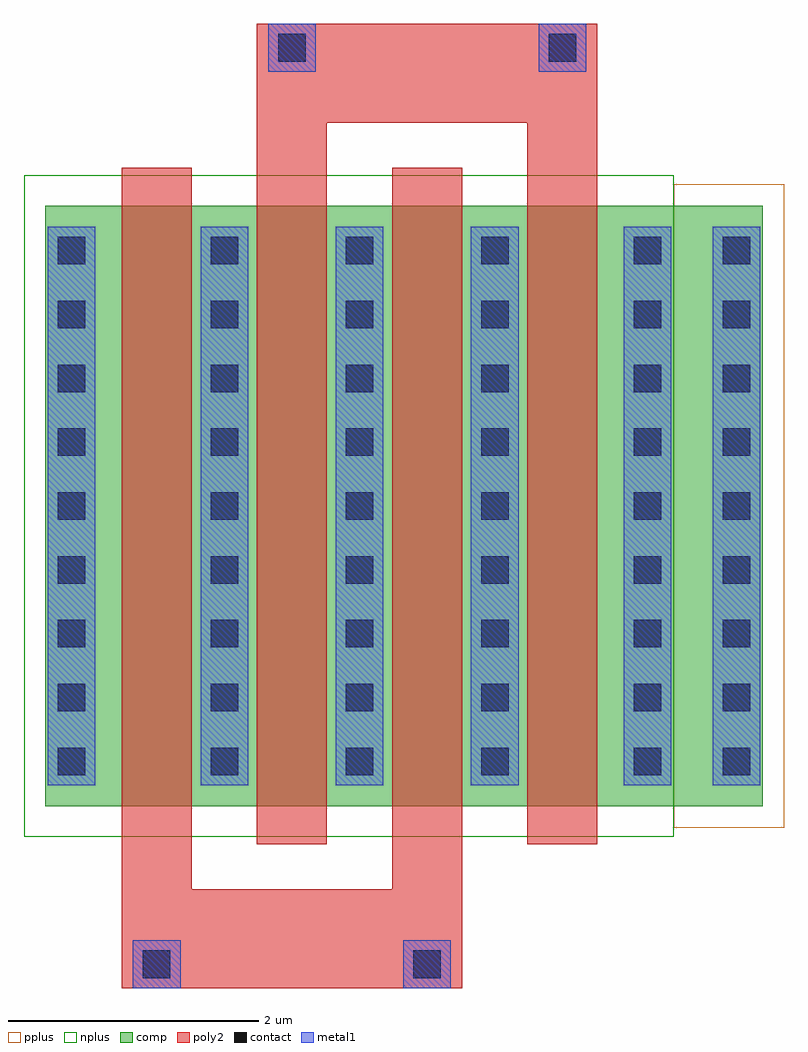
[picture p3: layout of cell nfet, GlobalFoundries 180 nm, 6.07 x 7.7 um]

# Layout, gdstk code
import gdstk
lib = gdstk.Library(unit=1e-6, precision=1e-09)
def R(c, l, rs):  # rectangles x0, y0, x1, y1
    for r in rs: c.add(gdstk.rectangle(r[:2], r[2:], *l))
def A(c, l, x, y, w, h, nx, ny, dx, dy):  # array of equal rectangles
    R(c, l, [(x+i*dx, y+j*dy, x+i*dx+w, y+j*dy+h) for i in range(nx) for j in range(ny)])
comp = (22, 0)
poly2 = (30, 0)
pplus = (31, 0)
nplus = (32, 0)
contact = (33, 0)
metal1 = (34, 0)

nfet = lib.new_cell('nfet')
R(nfet, comp, [(-0.42,0,0,4.8), (0,0,4.18,4.8), (4.18,0,4.6,4.8), (4.6,0,5.31,4.8)])
A(nfet, poly2, 0.19, -0.3, 0.56, 5.4, 4, 1, 1.08, 0)
R(nfet, poly2, [(0.19,-1.45,2.91,-0.66), (0.19,-0.66,0.75,-0.3), (2.35,-0.66,2.91,-0.3), (1.27,5.1,1.83,5.46), (3.43,5.1,3.99,5.46), (1.27,5.46,3.99,6.25)])
R(nfet, pplus, [(4.6,-0.17,5.48,4.97)])
R(nfet, nplus, [(-0.59,-0.24,4.6,5.04)])
A(nfet, contact, -0.32, 0.25, 0.22, 0.22, 1, 9, 0, 0.51)
A(nfet, contact, 0.9, 0.25, 0.22, 0.22, 3, 9, 1.08, 0.51)
A(nfet, contact, 4.28, 0.25, 0.22, 0.22, 1, 9, 0, 0.51)
A(nfet, contact, 4.99, 0.25, 0.22, 0.22, 1, 9, 0, 0.51)
R(nfet, contact, [(0.36,-1.37,0.58,-1.15), (2.52,-1.37,2.74,-1.15), (1.44,5.95,1.66,6.17), (3.6,5.95,3.82,6.17)])
A(nfet, metal1, 0.82, 0.17, 0.38, 4.46, 3, 1, 1.08, 0)
R(nfet, metal1, [(0.28,-1.45,0.66,-1.07), (2.44,-1.45,2.82,-1.07), (-0.4,0.17,-0.02,4.63), (4.2,0.17,4.58,4.63), (4.91,0.17,5.29,4.63), (1.36,5.87,1.74,6.25), (3.52,5.87,3.9,6.25)])

lib.write_gds('nfet.gds')
